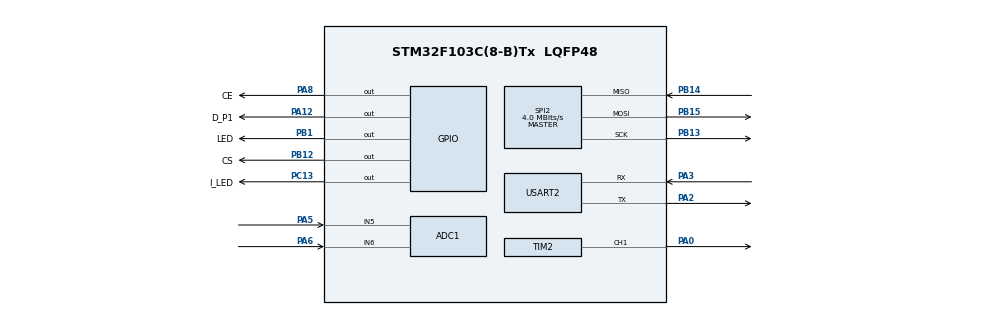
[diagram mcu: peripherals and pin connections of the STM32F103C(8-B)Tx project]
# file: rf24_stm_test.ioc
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ADC1.Channel-2\#ChannelRegularConversion=ADC_CHANNEL_5
ADC1.NbrOfConversionFlag=1
ADC1.Rank-2\#ChannelRegularConversion=1
ADC1.SamplingTime-2\#ChannelRegularConversion=ADC_SAMPLETIME_1CYCLE_5
ADC1.master=1
Mcu.Family=STM32F1
Mcu.Name=STM32F103C(8-B)Tx
Mcu.Package=LQFP48
NVIC.PriorityGroup=NVIC_PRIORITYGROUP_4
NVIC.SPI2_IRQn=true\:0\:0\:false\:false\:true\:true\:true\:true
PA0-WKUP.Signal=S_TIM2_CH1_ETR
PA12.GPIO_Label=D_P1
PA12.GPIO_ModeDefaultOutputPP=GPIO_MODE_OUTPUT_PP
PA12.GPIO_PuPd=GPIO_NOPULL
PA12.GPIO_Speed=GPIO_SPEED_FREQ_LOW
PA12.PinState=GPIO_PIN_RESET
PA12.Signal=GPIO_Output
PA13.Mode=Serial_Wire
PA13.Signal=SYS_JTMS-SWDIO
PA14.Mode=Serial_Wire
PA14.Signal=SYS_JTCK-SWCLK
PA2.Mode=Asynchronous
PA2.Signal=USART2_TX
PA3.Mode=Asynchronous
PA3.Signal=USART2_RX
PA5.Signal=ADCx_IN5
PA6.Signal=ADCx_IN6
PA8.GPIO_Label=CE
PA8.GPIO_PuPd=GPIO_NOPULL
PA8.GPIO_Speed=GPIO_SPEED_FREQ_LOW
PA8.PinState=GPIO_PIN_RESET
PA8.Signal=GPIO_Output
PB1.GPIO_Label=LED
PB1.Signal=GPIO_Output
PB12.GPIO_Label=CS
PB12.PinState=GPIO_PIN_SET
PB12.Signal=GPIO_Output
PB13.Mode=Full_Duplex_Master
PB13.Signal=SPI2_SCK
PB14.Mode=Full_Duplex_Master
PB14.Signal=SPI2_MISO
PB15.Mode=Full_Duplex_Master
PB15.Signal=SPI2_MOSI
PC13-TAMPER-RTC.GPIO_Label=I_LED
PC13-TAMPER-RTC.Signal=GPIO_Output
PC14-OSC32_IN.Mode=LSE-External-Oscillator
PC14-OSC32_IN.Signal=RCC_OSC32_IN
PC15-OSC32_OUT.Mode=LSE-External-Oscillator
PC15-OSC32_OUT.Signal=RCC_OSC32_OUT
PD0-OSC_IN.Mode=HSE-External-Oscillator
PD0-OSC_IN.Signal=RCC_OSC_IN
PD1-OSC_OUT.Mode=HSE-External-Oscillator
PD1-OSC_OUT.Signal=RCC_OSC_OUT
ProjectManager.HeapSize=0x200
ProjectManager.StackSize=0x400
ProjectManager.TargetToolchain=STM32CubeIDE
RCC.APB1Freq_Value=8000000
RCC.APB2Freq_Value=8000000
SH.ADCx_IN5.0=ADC1_IN5,IN5
SH.ADCx_IN6.0=ADC1_IN6,IN6
SH.S_TIM2_CH1_ETR.0=TIM2_CH1,PWM Generation1 CH1
SPI2.BaudRatePrescaler=SPI_BAUDRATEPRESCALER_2
SPI2.CalculateBaudRate=4.0 MBits/s
SPI2.Direction=SPI_DIRECTION_2LINES
SPI2.Mode=SPI_MODE_MASTER
SPI2.VirtualType=VM_MASTER
TIM2.AutoReloadPreload=TIM_AUTORELOAD_PRELOAD_ENABLE
TIM2.Channel-PWM\ Generation1\ CH1=TIM_CHANNEL_1
USART2.VirtualMode=VM_ASYNC
VP_TIM2_VS_ClockSourceINT.Mode=Internal
board=custom

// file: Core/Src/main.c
/* USER CODE BEGIN Header */
/**
  ******************************************************************************
  * @file           : main.c
  * @brief          : Main program body
  ******************************************************************************
  * @attention
  *
  * Copyright (c) 2025 STMicroelectronics.
  * All rights reserved.
  *
  * This software is licensed under terms that can be found in the LICENSE file
  * in the root directory of this software component.
  * If no LICENSE file comes with this software, it is provided AS-IS.
  *
  ******************************************************************************
  */
/* USER CODE END Header */
#include "main.h"
#include <stdio.h>

/* USER CODE BEGIN Includes */
#include <string.h>
/* USER CODE END Includes */

ADC_HandleTypeDef hadc1;

SPI_HandleTypeDef hspi2;

TIM_HandleTypeDef htim2;

UART_HandleTypeDef huart2;

void SystemClock_Config(void);
static void MX_GPIO_Init(void);
static void MX_SPI2_Init(void);
static void MX_USART2_UART_Init(void);
static void MX_ADC1_Init(void);
static void MX_TIM2_Init(void);

/* USER CODE BEGIN 0 */
#define NRF_CMD_NOP   0xFF

static void NRF_CSN_LOW(void)
{
    HAL_GPIO_WritePin(CS_GPIO_Port, CS_Pin, GPIO_PIN_RESET);
}

static void NRF_CSN_HIGH(void)
{
    HAL_GPIO_WritePin(CS_GPIO_Port, CS_Pin, GPIO_PIN_SET);
}

uint8_t NRF_GetStatus(void)
{
    uint8_t tx = NRF_CMD_NOP;
    uint8_t rx = 0;

    NRF_CSN_LOW();
    HAL_SPI_TransmitReceive(&hspi2, &tx, &rx, 1, HAL_MAX_DELAY);
    NRF_CSN_HIGH();

    return rx;
}

uint8_t NRF24_IsAvailable(void)
{
    uint8_t status = NRF_GetStatus();

    printf("STATUS = 0x%02X\r\n", status);

    if (status == 0xFF || status == 0x00)
        return 0;

    return 1;
}

/* USER CODE END 0 */

int main(void)
{

  /* MCU Configuration--------------------------------------------------------*/

  /* Reset of all peripherals, Initializes the Flash interface and the Systick. */
  HAL_Init();

  /* Configure the system clock */
  SystemClock_Config();

  /* Initialize all configured peripherals */
  MX_GPIO_Init();
  MX_SPI2_Init();
  MX_USART2_UART_Init();
  MX_ADC1_Init();
  MX_TIM2_Init();

  /* USER CODE BEGIN 2 */

  printf("=== RF24 HARDWARE TEST ===\r\n");

  HAL_Delay(100);

  if (NRF24_IsAvailable())
  {
      printf("RF24 detected OK!\r\n");
      HAL_GPIO_WritePin(LED_GPIO_Port, LED_Pin, GPIO_PIN_SET);
  }
  else
  {
      printf("RF24 NOT detected!\r\n");
  }

  /* USER CODE END 2 */

  /* Infinite loop */
  while (1)
  {

    /* USER CODE BEGIN 3 */

    HAL_Delay(200);
  }
  /* USER CODE END 3 */
}

void SystemClock_Config(void)
{
  RCC_OscInitTypeDef RCC_OscInitStruct = {0};
  RCC_ClkInitTypeDef RCC_ClkInitStruct = {0};
  RCC_PeriphCLKInitTypeDef PeriphClkInit = {0};

  /** Initializes the RCC Oscillators according to the specified parameters
  * in the RCC_OscInitTypeDef structure.
  */
  RCC_OscInitStruct.OscillatorType = RCC_OSCILLATORTYPE_HSI;
  RCC_OscInitStruct.HSIState = RCC_HSI_ON;
  RCC_OscInitStruct.HSICalibrationValue = RCC_HSICALIBRATION_DEFAULT;
  RCC_OscInitStruct.PLL.PLLState = RCC_PLL_NONE;
  if (HAL_RCC_OscConfig(&RCC_OscInitStruct) != HAL_OK)
  {
    Error_Handler();
  }

  /** Initializes the CPU, AHB and APB buses clocks
  */
  RCC_ClkInitStruct.ClockType = RCC_CLOCKTYPE_HCLK|RCC_CLOCKTYPE_SYSCLK
                              |RCC_CLOCKTYPE_PCLK1|RCC_CLOCKTYPE_PCLK2;
  RCC_ClkInitStruct.SYSCLKSource = RCC_SYSCLKSOURCE_HSI;
  RCC_ClkInitStruct.AHBCLKDivider = RCC_SYSCLK_DIV1;
  RCC_ClkInitStruct.APB1CLKDivider = RCC_HCLK_DIV1;
  RCC_ClkInitStruct.APB2CLKDivider = RCC_HCLK_DIV1;

  if (HAL_RCC_ClockConfig(&RCC_ClkInitStruct, FLASH_LATENCY_0) != HAL_OK)
  {
    Error_Handler();
  }
  PeriphClkInit.PeriphClockSelection = RCC_PERIPHCLK_ADC;
  PeriphClkInit.AdcClockSelection = RCC_ADCPCLK2_DIV2;
  if (HAL_RCCEx_PeriphCLKConfig(&PeriphClkInit) != HAL_OK)
  {
    Error_Handler();
  }
}

static void MX_ADC1_Init(void)
{

  ADC_ChannelConfTypeDef sConfig = {0};

  /** Common config
  */
  hadc1.Instance = ADC1;
  hadc1.Init.ScanConvMode = ADC_SCAN_DISABLE;
  hadc1.Init.ContinuousConvMode = DISABLE;
  hadc1.Init.DiscontinuousConvMode = DISABLE;
  hadc1.Init.ExternalTrigConv = ADC_SOFTWARE_START;
  hadc1.Init.DataAlign = ADC_DATAALIGN_RIGHT;
  hadc1.Init.NbrOfConversion = 1;
  if (HAL_ADC_Init(&hadc1) != HAL_OK)
  {
    Error_Handler();
  }

  /** Configure Regular Channel
  */
  sConfig.Channel = ADC_CHANNEL_5;
  sConfig.Rank = ADC_REGULAR_RANK_1;
  sConfig.SamplingTime = ADC_SAMPLETIME_1CYCLE_5;
  if (HAL_ADC_ConfigChannel(&hadc1, &sConfig) != HAL_OK)
  {
    Error_Handler();
  }

}

static void MX_SPI2_Init(void)
{

  /* SPI2 parameter configuration*/
  hspi2.Instance = SPI2;
  hspi2.Init.Mode = SPI_MODE_MASTER;
  hspi2.Init.Direction = SPI_DIRECTION_2LINES;
  hspi2.Init.DataSize = SPI_DATASIZE_8BIT;
  hspi2.Init.CLKPolarity = SPI_POLARITY_LOW;
  hspi2.Init.CLKPhase = SPI_PHASE_1EDGE;
  hspi2.Init.NSS = SPI_NSS_SOFT;
  hspi2.Init.BaudRatePrescaler = SPI_BAUDRATEPRESCALER_2;
  hspi2.Init.FirstBit = SPI_FIRSTBIT_MSB;
  hspi2.Init.TIMode = SPI_TIMODE_DISABLE;
  hspi2.Init.CRCCalculation = SPI_CRCCALCULATION_DISABLE;
  hspi2.Init.CRCPolynomial = 10;
  if (HAL_SPI_Init(&hspi2) != HAL_OK)
  {
    Error_Handler();
  }

}

static void MX_TIM2_Init(void)
{

  TIM_ClockConfigTypeDef sClockSourceConfig = {0};
  TIM_MasterConfigTypeDef sMasterConfig = {0};
  TIM_OC_InitTypeDef sConfigOC = {0};

  htim2.Instance = TIM2;
  htim2.Init.Prescaler = 0;
  htim2.Init.CounterMode = TIM_COUNTERMODE_UP;
  htim2.Init.Period = 65535;
  htim2.Init.ClockDivision = TIM_CLOCKDIVISION_DIV1;
  htim2.Init.AutoReloadPreload = TIM_AUTORELOAD_PRELOAD_ENABLE;
  if (HAL_TIM_Base_Init(&htim2) != HAL_OK)
  {
    Error_Handler();
  }
  sClockSourceConfig.ClockSource = TIM_CLOCKSOURCE_INTERNAL;
  if (HAL_TIM_ConfigClockSource(&htim2, &sClockSourceConfig) != HAL_OK)
  {
    Error_Handler();
  }
  if (HAL_TIM_PWM_Init(&htim2) != HAL_OK)
  {
    Error_Handler();
  }
  sMasterConfig.MasterOutputTrigger = TIM_TRGO_RESET;
  sMasterConfig.MasterSlaveMode = TIM_MASTERSLAVEMODE_DISABLE;
  if (HAL_TIMEx_MasterConfigSynchronization(&htim2, &sMasterConfig) != HAL_OK)
  {
    Error_Handler();
  }
  sConfigOC.OCMode = TIM_OCMODE_PWM1;
  sConfigOC.Pulse = 0;
  sConfigOC.OCPolarity = TIM_OCPOLARITY_HIGH;
  sConfigOC.OCFastMode = TIM_OCFAST_DISABLE;
  if (HAL_TIM_PWM_ConfigChannel(&htim2, &sConfigOC, TIM_CHANNEL_1) != HAL_OK)
  {
    Error_Handler();
  }
  HAL_TIM_MspPostInit(&htim2);

}

static void MX_USART2_UART_Init(void)
{

  huart2.Instance = USART2;
  huart2.Init.BaudRate = 115200;
  huart2.Init.WordLength = UART_WORDLENGTH_8B;
  huart2.Init.StopBits = UART_STOPBITS_1;
  huart2.Init.Parity = UART_PARITY_NONE;
  huart2.Init.Mode = UART_MODE_TX_RX;
  huart2.Init.HwFlowCtl = UART_HWCONTROL_NONE;
  huart2.Init.OverSampling = UART_OVERSAMPLING_16;
  if (HAL_UART_Init(&huart2) != HAL_OK)
  {
    Error_Handler();
  }

}

static void MX_GPIO_Init(void)
{
  GPIO_InitTypeDef GPIO_InitStruct = {0};

  /* GPIO Ports Clock Enable */
  __HAL_RCC_GPIOC_CLK_ENABLE();
  __HAL_RCC_GPIOD_CLK_ENABLE();
  __HAL_RCC_GPIOA_CLK_ENABLE();
  __HAL_RCC_GPIOB_CLK_ENABLE();

  /*Configure GPIO pin Output Level */
  HAL_GPIO_WritePin(I_LED_GPIO_Port, I_LED_Pin, GPIO_PIN_RESET);

  /*Configure GPIO pin Output Level */
  HAL_GPIO_WritePin(LED_GPIO_Port, LED_Pin, GPIO_PIN_RESET);

  /*Configure GPIO pin Output Level */
  HAL_GPIO_WritePin(CS_GPIO_Port, CS_Pin, GPIO_PIN_SET);

  /*Configure GPIO pin Output Level */
  HAL_GPIO_WritePin(GPIOA, CE_Pin|D_P1_Pin, GPIO_PIN_RESET);

  /*Configure GPIO pin : I_LED_Pin */
  GPIO_InitStruct.Pin = I_LED_Pin;
  GPIO_InitStruct.Mode = GPIO_MODE_OUTPUT_PP;
  GPIO_InitStruct.Pull = GPIO_NOPULL;
  GPIO_InitStruct.Speed = GPIO_SPEED_FREQ_LOW;
  HAL_GPIO_Init(I_LED_GPIO_Port, &GPIO_InitStruct);

  /*Configure GPIO pins : LED_Pin CS_Pin */
  GPIO_InitStruct.Pin = LED_Pin|CS_Pin;
  GPIO_InitStruct.Mode = GPIO_MODE_OUTPUT_PP;
  GPIO_InitStruct.Pull = GPIO_NOPULL;
  GPIO_InitStruct.Speed = GPIO_SPEED_FREQ_LOW;
  HAL_GPIO_Init(GPIOB, &GPIO_InitStruct);

  /*Configure GPIO pins : CE_Pin D_P1_Pin */
  GPIO_InitStruct.Pin = CE_Pin|D_P1_Pin;
  GPIO_InitStruct.Mode = GPIO_MODE_OUTPUT_PP;
  GPIO_InitStruct.Pull = GPIO_NOPULL;
  GPIO_InitStruct.Speed = GPIO_SPEED_FREQ_LOW;
  HAL_GPIO_Init(GPIOA, &GPIO_InitStruct);

}

void Error_Handler(void)
{
  __disable_irq();
  while (1)
  {
  }
}
